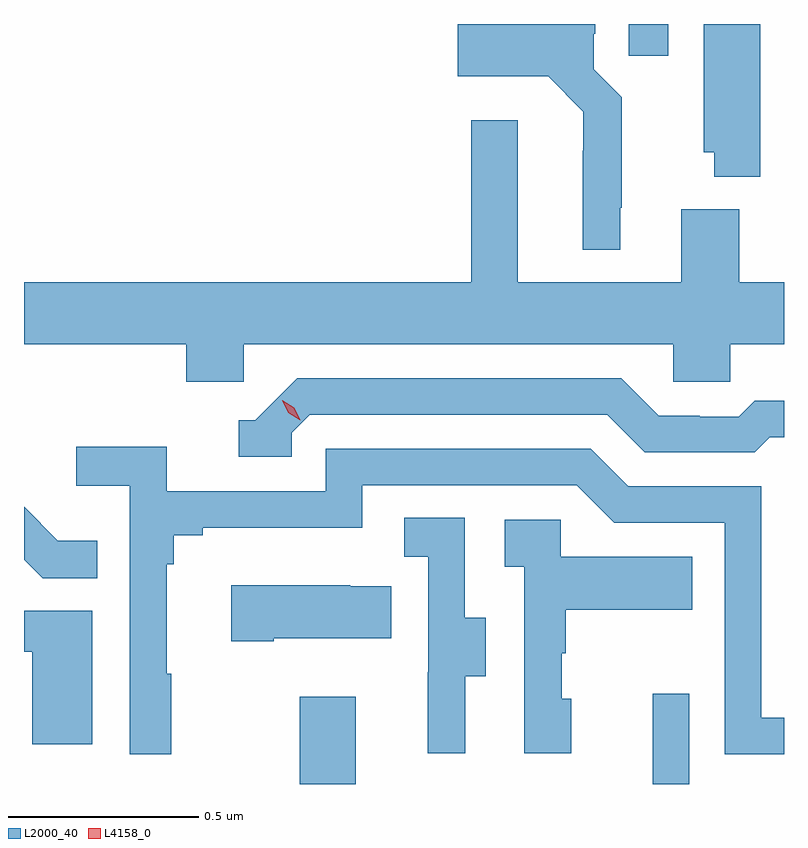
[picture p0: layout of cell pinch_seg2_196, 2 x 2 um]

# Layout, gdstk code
import gdstk
lib = gdstk.Library(unit=1e-6, precision=1e-09)
def R(c, l, rs):  # rectangles x0, y0, x1, y1
    for r in rs: c.add(gdstk.rectangle(r[:2], r[2:], *l))
def P(c, l, *ps):  # polygons
    for p in ps: c.add(gdstk.Polygon(p, *l))
L2000_40 = (2000, 40)
L4158_0 = (4158, 0)

pinch_seg2_196 = lib.new_cell('pinch_seg2_196')
R(pinch_seg2_196, L2000_40, [(953.26,654.471,953.407,654.7), (954.188,654.471,954.285,654.709), (954.125,656.388,954.229,656.471)])
P(pinch_seg2_196, L2000_40, [(954.103,655.987),(954.107,655.987),(954.107,656.278),(954.033,656.352),(954.033,656.446),(954.037,656.446),(954.037,656.471),(953.676,656.471),(953.676,656.333),(953.913,656.333),(954.006,656.24),(954.006,656.138),(954.005,656.138),(954.005,655.877),(954.103,655.877)],
  [(954.472,656.471),(954.323,656.471),(954.323,656.133),(954.35,656.133),(954.35,656.069),(954.472,656.069)],
  [(953.112,655.628),(954.243,655.628),(954.243,655.53),(954.393,655.53),(954.393,655.628),(954.534,655.628),(954.534,655.792),(954.416,655.792),(954.416,655.984),(954.263,655.984),(954.263,655.792),(953.833,655.792),(953.833,656.218),(953.711,656.218),(953.711,655.792),(952.534,655.792),(952.534,655.628),(952.961,655.628),(952.961,655.53),(953.112,655.53)],
  [(953.238,655.395),(953.286,655.443),(954.069,655.443),(954.168,655.344),(954.457,655.344),(954.496,655.383),(954.534,655.383),(954.534,655.48),(954.457,655.48),(954.415,655.437),(954.312,655.437),(954.312,655.44),(954.205,655.44),(954.106,655.539),(953.253,655.539),(953.142,655.428),(953.099,655.428),(953.099,655.332),(953.238,655.332)],
  [(952.921,654.761),(952.909,654.761),(952.909,655.049),(952.928,655.049),(952.928,655.126),(953.005,655.126),(953.005,655.145),(953.424,655.145),(953.424,655.257),(953.988,655.257),(954.087,655.158),(954.378,655.158),(954.378,654.549),(954.534,654.549),(954.534,654.645),(954.474,654.645),(954.474,655.254),(954.124,655.254),(954.025,655.353),(953.328,655.353),(953.328,655.242),(952.91,655.242),(952.91,655.358),(952.671,655.358),(952.671,655.256),(952.812,655.256),(952.812,654.549),(952.921,654.549)],
  [(952.727,655.111),(952.623,655.111),(952.534,655.2),(952.534,655.061),(952.583,655.012),(952.727,655.012)],
  [(953.695,654.754),(953.749,654.754),(953.749,654.909),(953.694,654.909),(953.694,655.172),(953.535,655.172),(953.535,655.069),(953.598,655.069),(953.598,654.765),(953.597,654.765),(953.597,654.552),(953.695,654.552)],
  [(953.974,654.696),(953.949,654.696),(953.949,654.815),(953.959,654.815),(953.959,654.929),(954.293,654.929),(954.293,655.069),(953.946,655.069),(953.946,655.167),(953.799,655.167),(953.799,655.043),(953.85,655.043),(953.85,654.552),(953.974,654.552)],
  [(953.191,654.854),(953.501,654.854),(953.501,654.991),(953.393,654.991),(953.393,654.994),(953.079,654.994),(953.079,654.847),(953.191,654.847)],
  [(952.714,654.927),(952.534,654.927),(952.534,654.819),(952.556,654.819),(952.556,654.576),(952.714,654.576)])
P(pinch_seg2_196, L4158_0, [(953.261,655.428),(953.23,655.448),(953.214,655.48),(953.214,655.481),(953.214,655.481),(953.245,655.461),(953.261,655.428),(953.261,655.428)])

lib.write_gds('pinch_seg2_196.gds')
